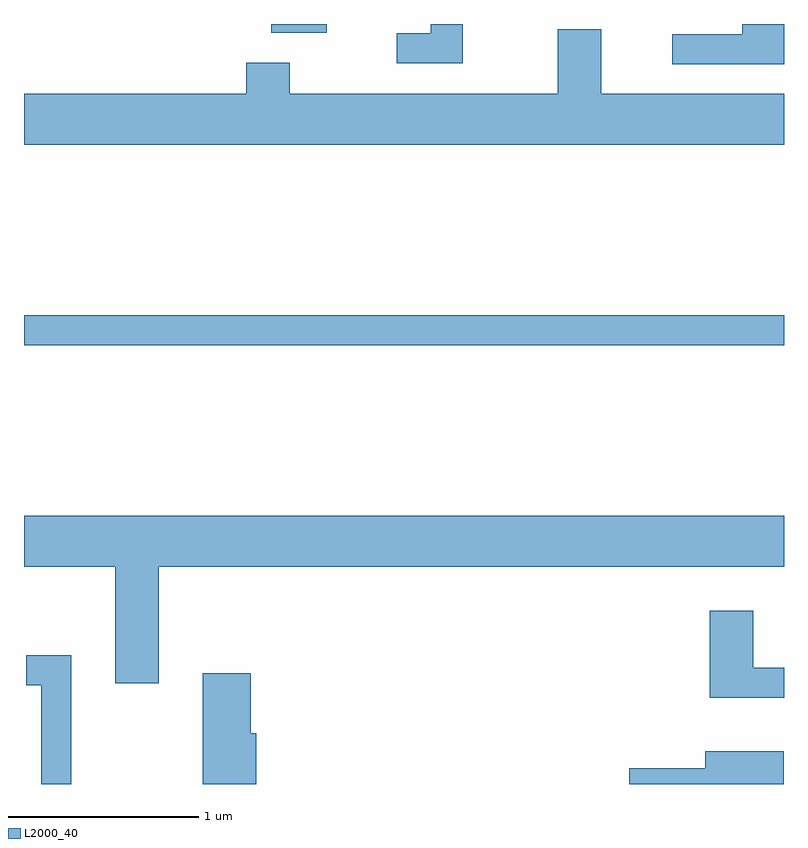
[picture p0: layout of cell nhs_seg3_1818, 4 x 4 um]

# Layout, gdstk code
import gdstk
lib = gdstk.Library(unit=1e-6, precision=1e-09)
def R(c, l, rs):  # rectangles x0, y0, x1, y1
    for r in rs: c.add(gdstk.rectangle(r[:2], r[2:], *l))
def P(c, l, *ps):  # polygons
    for p in ps: c.add(gdstk.Polygon(p, *l))
L2000_40 = (2000, 40)

nhs_seg3_1818 = lib.new_cell('nhs_seg3_1818')
R(nhs_seg3_1818, L2000_40, [(237.611,1218.201,241.611,1218.359), (238.911,1219.846,239.204,1219.892)])
P(nhs_seg3_1818, L2000_40, [(239.919,1219.892),(239.751,1219.892),(239.751,1219.844),(239.573,1219.844),(239.573,1219.686),(239.919,1219.686)],
  [(241.611,1219.892),(241.391,1219.892),(241.391,1219.839),(241.023,1219.839),(241.023,1219.681),(241.611,1219.681)],
  [(241.611,1219.524),(240.649,1219.524),(240.649,1219.864),(240.421,1219.864),(240.421,1219.524),(239.009,1219.524),(239.009,1219.689),(238.781,1219.689),(238.781,1219.524),(237.611,1219.524),(237.611,1219.256),(241.611,1219.256)],
  [(238.319,1217.036),(241.611,1217.036),(241.611,1217.304),(237.611,1217.304),(237.611,1217.036),(238.091,1217.036),(238.091,1216.421),(238.319,1216.421)],
  [(241.611,1216.504),(241.449,1216.504),(241.449,1216.804),(241.221,1216.804),(241.221,1216.346),(241.611,1216.346)],
  [(237.859,1216.569),(237.623,1216.569),(237.623,1216.411),(237.701,1216.411),(237.701,1215.892),(237.859,1215.892)],
  [(238.834,1216.159),(238.804,1216.159),(238.804,1216.474),(238.551,1216.474),(238.551,1215.892),(238.834,1215.892)],
  [(241.609,1216.064),(241.196,1216.064),(241.196,1215.974),(240.796,1215.974),(240.796,1215.892),(241.609,1215.892)])

lib.write_gds('nhs_seg3_1818.gds')
